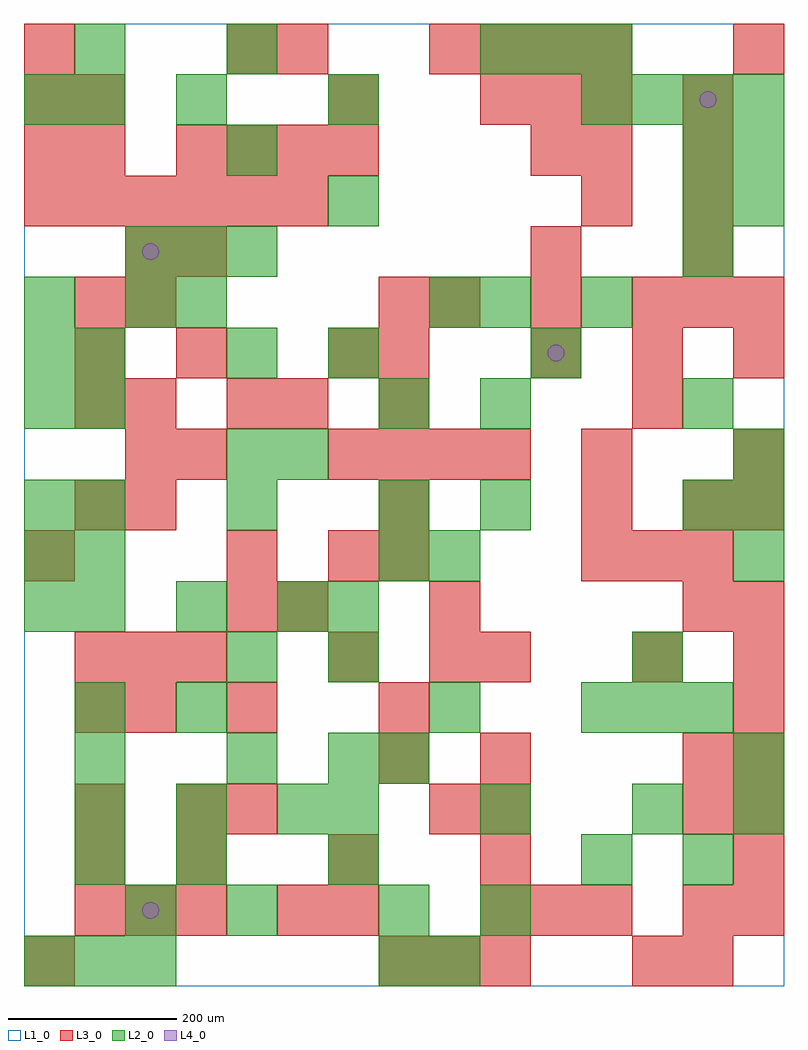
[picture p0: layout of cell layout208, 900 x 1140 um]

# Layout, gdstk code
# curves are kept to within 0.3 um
import gdstk
lib = gdstk.Library(unit=1e-6, precision=1e-09)
def R(c, l, rs):  # rectangles x0, y0, x1, y1
    for r in rs: c.add(gdstk.rectangle(r[:2], r[2:], *l))
def A(c, l, x, y, w, h, nx, ny, dx, dy):  # array of equal rectangles
    R(c, l, [(x+i*dx, y+j*dy, x+i*dx+w, y+j*dy+h) for i in range(nx) for j in range(ny)])
def P(c, l, *ps):  # polygons
    for p in ps: c.add(gdstk.Polygon(p, *l))
L1_0 = (1, 0)
L2_0 = (2, 0)
L3_0 = (3, 0)
L4_0 = (4, 0)

layout208 = lib.new_cell('layout208')
R(layout208, L1_0, [(0,0,900,1140)])
A(layout208, L2_0, 0, 0, 60, 60, 3, 1, 60, 0)
A(layout208, L2_0, 360, 120, 60, 60, 1, 3, 0, 120)
A(layout208, L2_0, 60, 180, 60, 60, 3, 2, 120, 240)
A(layout208, L2_0, 360, 180, 60, 60, 3, 1, 180, 0)
A(layout208, L2_0, 60, 300, 60, 60, 1, 3, 0, 180)
A(layout208, L2_0, 660, 300, 60, 60, 3, 1, 60, 0)
A(layout208, L2_0, 0, 420, 60, 60, 1, 3, 0, 60)
A(layout208, L2_0, 840, 480, 60, 60, 1, 3, 0, 60)
A(layout208, L2_0, 60, 540, 60, 60, 3, 1, 180, 0)
A(layout208, L2_0, 540, 540, 60, 60, 1, 3, 0, 120)
A(layout208, L2_0, 0, 660, 60, 60, 1, 3, 0, 60)
A(layout208, L2_0, 120, 840, 60, 60, 3, 1, 60, 0)
A(layout208, L2_0, 780, 840, 60, 60, 1, 3, 0, 60)
A(layout208, L2_0, 660, 1020, 60, 60, 4, 1, 60, 0)
A(layout208, L2_0, 540, 1080, 60, 60, 3, 1, 60, 0)
R(layout208, L2_0, [(420,0,480,60), (480,0,540,60), (120,60,180,120), (240,60,300,120), (420,60,480,120), (540,60,600,120), (60,120,120,180), (180,120,240,180), (660,120,720,180), (780,120,840,180), (840,180,900,240), (60,240,120,300), (240,240,300,300), (420,240,480,300), (840,240,900,300), (180,300,240,360), (480,300,540,360), (240,360,300,420), (720,360,780,420), (360,420,420,480), (420,480,480,540), (480,480,540,540), (780,540,840,600), (240,600,300,660), (300,600,360,660), (420,660,480,720), (780,660,840,720), (60,720,120,780), (240,720,300,780), (360,720,420,780), (600,720,660,780), (120,780,180,840), (180,780,240,840), (480,780,540,840), (660,780,720,840), (360,900,420,960), (840,900,900,960), (240,960,300,1020), (840,960,900,1020), (0,1020,60,1080), (60,1020,120,1080), (180,1020,240,1080), (360,1020,420,1080), (60,1080,120,1140), (240,1080,300,1140)])
A(layout208, L3_0, 0, 0, 60, 60, 1, 3, 0, 480)
A(layout208, L3_0, 420, 0, 60, 60, 3, 1, 60, 0)
A(layout208, L3_0, 60, 60, 60, 60, 3, 2, 60, 300)
A(layout208, L3_0, 540, 60, 60, 60, 3, 2, 60, 960)
A(layout208, L3_0, 840, 60, 60, 60, 1, 7, 0, 60)
A(layout208, L3_0, 180, 120, 60, 60, 3, 1, 180, 0)
A(layout208, L3_0, 240, 180, 60, 60, 1, 3, 0, 120)
A(layout208, L3_0, 660, 480, 60, 60, 3, 1, 60, 0)
A(layout208, L3_0, 120, 540, 60, 60, 1, 3, 0, 60)
A(layout208, L3_0, 180, 600, 60, 60, 1, 3, 0, 120)
A(layout208, L3_0, 360, 600, 60, 60, 4, 1, 60, 0)
A(layout208, L3_0, 60, 660, 60, 60, 1, 3, 0, 60)
A(layout208, L3_0, 420, 660, 60, 60, 1, 3, 0, 60)
A(layout208, L3_0, 600, 720, 60, 60, 3, 1, 120, 0)
A(layout208, L3_0, 480, 780, 60, 60, 3, 1, 120, 0)
A(layout208, L3_0, 780, 780, 60, 60, 1, 5, 0, 60)
A(layout208, L3_0, 0, 900, 60, 60, 6, 1, 60, 0)
A(layout208, L3_0, 180, 960, 60, 60, 4, 1, 60, 0)
A(layout208, L3_0, 480, 1080, 60, 60, 4, 1, 60, 0)
R(layout208, L3_0, [(720,0,780,60), (780,0,840,60), (300,60,360,120), (360,60,420,120), (780,60,840,120), (60,120,120,180), (60,180,120,240), (180,180,240,240), (480,180,540,240), (540,180,600,240), (780,180,840,240), (420,240,480,300), (540,240,600,300), (780,240,840,300), (60,300,120,360), (120,300,180,360), (420,300,480,360), (360,360,420,420), (480,360,540,420), (540,360,600,420), (720,360,780,420), (300,420,360,480), (480,420,540,480), (780,420,840,480), (240,480,300,540), (360,480,420,540), (420,480,480,540), (60,540,120,600), (420,540,480,600), (660,540,720,600), (780,540,840,600), (840,540,900,600), (660,600,720,660), (840,600,900,660), (240,660,300,720), (300,660,360,720), (720,660,780,720), (360,720,420,780), (120,780,180,840), (840,780,900,840), (120,840,180,900), (600,840,660,900), (660,900,720,960), (60,960,120,1020), (600,960,660,1020), (660,960,720,1020), (0,1020,60,1080), (60,1020,120,1080), (360,1020,420,1080), (0,1080,60,1140), (240,1080,300,1140), (300,1080,360,1140), (840,1080,900,1140)])
P(layout208, L4_0, [(160,90),(159.239,93.827),(157.071,97.071),(153.827,99.239),(150,100),(146.173,99.239),(142.929,97.071),(140.761,93.827),(140,90),(140.761,86.173),(142.929,82.929),(146.173,80.761),(150,80),(153.827,80.761),(157.071,82.929),(159.239,86.173)],
  [(160,870),(159.239,873.827),(157.071,877.071),(153.827,879.239),(150,880),(146.173,879.239),(142.929,877.071),(140.761,873.827),(140,870),(140.761,866.173),(142.929,862.929),(146.173,860.761),(150,860),(153.827,860.761),(157.071,862.929),(159.239,866.173)],
  [(640,750),(639.239,753.827),(637.071,757.071),(633.827,759.239),(630,760),(626.173,759.239),(622.929,757.071),(620.761,753.827),(620,750),(620.761,746.173),(622.929,742.929),(626.173,740.761),(630,740),(633.827,740.761),(637.071,742.929),(639.239,746.173)],
  [(820,1050),(819.239,1053.827),(817.071,1057.071),(813.827,1059.239),(810,1060),(806.173,1059.239),(802.929,1057.071),(800.761,1053.827),(800,1050),(800.761,1046.173),(802.929,1042.929),(806.173,1040.761),(810,1040),(813.827,1040.761),(817.071,1042.929),(819.239,1046.173)])

lib.write_gds('layout208.gds')
